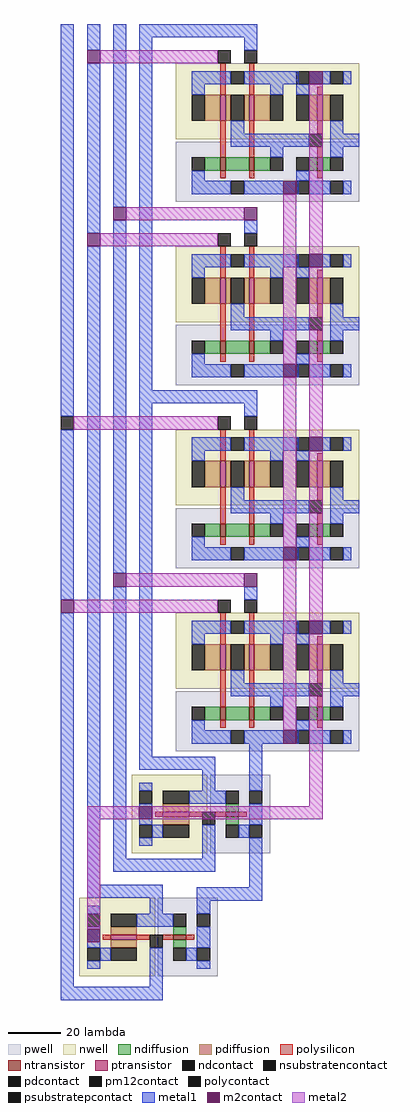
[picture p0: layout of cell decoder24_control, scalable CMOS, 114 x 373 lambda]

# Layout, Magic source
magic
tech scmos
<< polysilicon >>
rect 175 32 177 41
rect 186 32 188 41
rect 175 -38 177 -29
rect 186 -38 188 -29
rect 175 -108 177 -99
rect 186 -108 188 -99
rect 175 -178 177 -169
rect 186 -178 188 -169
<< polycontact >>
rect 184 41 189 46
rect 184 -29 189 -24
rect 184 -99 189 -94
rect 184 -169 189 -164
<< metal1 >>
rect 114 -94 119 56
rect 114 -164 119 -99
rect 114 -312 119 -169
rect 124 46 129 56
rect 124 -24 129 41
rect 124 -273 129 -29
rect 134 -14 139 56
rect 134 -154 139 -19
rect 134 -263 139 -159
rect 144 51 189 56
rect 144 -84 149 51
rect 184 46 189 51
rect 184 -24 189 -19
rect 144 -89 189 -84
rect 144 -224 149 -89
rect 184 -94 189 -89
rect 184 -164 189 -159
rect 144 -229 173 -224
rect 168 -231 173 -229
rect 186 -234 191 -214
rect 168 -263 173 -254
rect 134 -268 173 -263
rect 124 -278 153 -273
rect 186 -274 191 -255
rect 148 -280 153 -278
rect 166 -279 191 -274
rect 166 -284 171 -279
rect 148 -312 153 -308
rect 114 -317 153 -312
<< m2contact >>
rect 114 -169 119 -164
rect 124 41 129 46
rect 124 -29 129 -24
rect 134 -19 139 -14
rect 134 -159 139 -154
rect 209 33 214 38
rect 199 -9 204 -4
rect 184 -19 189 -14
rect 209 -37 214 -32
rect 199 -79 204 -74
rect 209 -107 214 -102
rect 199 -149 204 -144
rect 184 -159 189 -154
rect 209 -177 214 -172
rect 199 -219 204 -214
rect 144 -248 149 -243
rect 124 -295 129 -290
<< pm12contact >>
rect 114 -99 119 -94
rect 174 41 179 46
rect 174 -29 179 -24
rect 174 -99 179 -94
rect 174 -169 179 -164
<< metal2 >>
rect 129 41 174 46
rect 139 -19 184 -14
rect 129 -29 174 -24
rect 199 -74 204 -9
rect 119 -99 174 -94
rect 199 -144 204 -79
rect 139 -159 184 -154
rect 119 -169 174 -164
rect 199 -214 204 -149
rect 209 -32 214 33
rect 209 -102 214 -37
rect 209 -172 214 -107
rect 209 -243 214 -177
rect 124 -248 144 -243
rect 149 -248 214 -243
rect 124 -290 129 -248
use inv2  inv2_0
transform 0 -1 161 1 0 -298
box -10 -13 20 40
use inv2  inv2_1
transform 0 -1 181 1 0 -251
box -10 -13 20 40
use 2and  2and_1
transform 1 0 90 0 1 -111
box 68 29 138 82
use 2and  2and_2
transform 1 0 90 0 1 -181
box 68 29 138 82
use 2and  2and_3
transform 1 0 90 0 1 -251
box 68 29 138 82
use 2and  2and_0
transform 1 0 90 0 1 -41
box 68 29 138 82
<< end >>

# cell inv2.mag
magic
tech scmos
<< nwell >>
rect -10 11 20 40
<< pwell >>
rect -10 -13 20 10
<< ntransistor >>
rect 4 -1 6 4
<< ptransistor >>
rect 4 18 6 28
<< ndiffusion >>
rect 1 -1 4 4
rect 6 -1 9 4
<< pdiffusion >>
rect 1 18 4 28
rect 6 18 9 28
<< ndcontact >>
rect -4 -1 1 4
rect 9 -1 14 4
<< pdcontact >>
rect -4 18 1 28
rect 9 18 14 28
<< psubstratepcontact >>
rect -4 -10 1 -5
rect 9 -10 14 -5
<< nsubstratencontact >>
rect -4 32 1 37
rect 9 32 14 37
<< polysilicon >>
rect 4 28 6 31
rect 4 13 6 18
rect 4 4 6 8
rect 4 -4 6 -1
<< polycontact >>
rect 1 8 6 13
<< metal1 >>
rect -7 32 -4 37
rect 1 32 9 37
rect 14 32 17 37
rect -4 28 1 32
rect 9 13 14 18
rect -10 8 1 13
rect 9 8 20 13
rect 9 4 14 8
rect -4 -5 1 -1
rect -7 -10 -4 -5
rect 1 -10 9 -5
rect 14 -10 17 -5
<< labels >>
rlabel metal1 -5 -7 -5 -7 3 GND!
rlabel metal1 -5 34 -5 34 3 Vdd!
<< end >>

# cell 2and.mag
magic
tech scmos
<< nwell >>
rect 68 53 115 82
<< pwell >>
rect 68 29 115 52
<< ntransistor >>
rect 85 41 87 46
rect 96 41 98 46
<< ptransistor >>
rect 85 60 87 70
rect 96 60 98 70
<< ndiffusion >>
rect 79 41 85 46
rect 87 41 96 46
rect 98 41 104 46
<< pdiffusion >>
rect 79 60 85 70
rect 87 60 89 70
rect 94 60 96 70
rect 98 60 104 70
<< ndcontact >>
rect 74 41 79 46
rect 104 41 109 46
<< pdcontact >>
rect 74 60 79 70
rect 89 60 94 70
rect 104 60 109 70
<< psubstratepcontact >>
rect 89 32 94 37
<< nsubstratencontact >>
rect 89 74 94 79
<< polysilicon >>
rect 85 70 87 73
rect 96 70 98 73
rect 85 46 87 60
rect 96 46 98 60
rect 85 38 87 41
rect 96 38 98 41
<< metal1 >>
rect 74 74 89 79
rect 94 74 115 79
rect 74 70 79 74
rect 104 70 109 74
rect 89 55 94 60
rect 89 50 115 55
rect 104 46 109 50
rect 74 37 79 41
rect 74 32 89 37
rect 94 32 115 37
use inv2  inv2_0
transform 1 0 118 0 1 42
box -10 -13 20 40
<< labels >>
rlabel metal1 110 74 115 79 7 Vdd!
rlabel polysilicon 85 71 87 73 1 a
<< end >>
